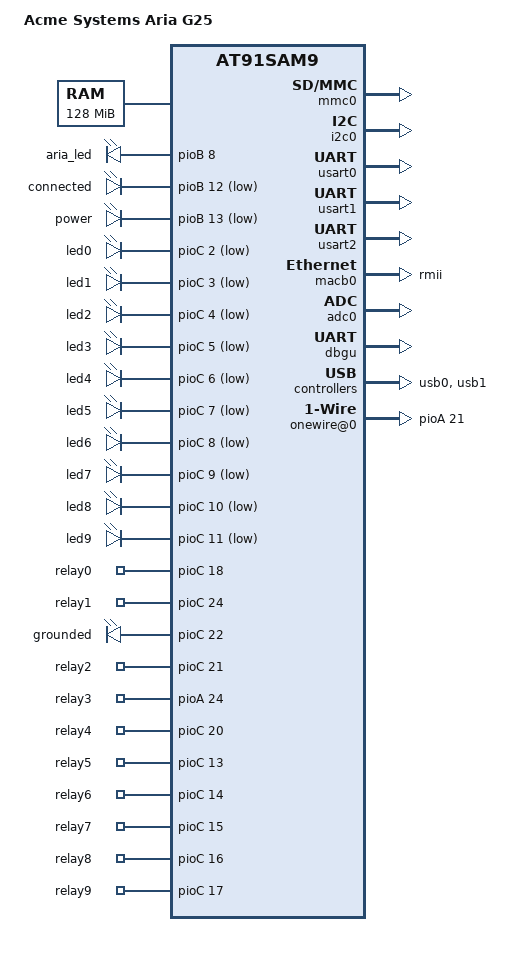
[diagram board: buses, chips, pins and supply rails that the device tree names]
/*
 * at91-ariag25.dts - Device Tree file for Acme Systems Aria G25 (AT91SAM9G25 based)
 *
 * Copyright (C) 2013 Douglas Gilbert <dgilbert@interlog.com>,
 *                    Robert Nelson <robertcnelson@gmail.com>
 *
 * Changed by Sergio Tanzilli <sergio@tanzilli.com> to meet the default 
 * pin assignments
 *
 * Licensed under GPLv2 or later.
 */
/dts-v1/;
#include "at91sam9g25.dtsi"

/ {
	model = "Acme Systems Aria G25";
	compatible = "acme,ariag25", "atmel,at91sam9x5ek",
		     "atmel,at91sam9x5", "atmel,at91sam9";

	aliases {
		serial0 = &dbgu;
		serial1 = &usart0;
		serial2 = &usart1;
		serial3 = &usart2;
		serial4 = &usart3;
		serial5 = &uart0;
		serial6 = &uart1;
	};

	chosen {
		bootargs = "console=ttyS0,115200 root=/dev/mmcblk0p2 rw rootwait";
	};

	memory {
		/* 128 MB, change this for 256 MB revision */
		reg = <0x20000000 0x8000000>;
	};

	clocks {
		#address-cells = <1>;
		#size-cells = <1>;
		ranges;

		main_clock: clock@0 {
			compatible = "atmel,osc", "fixed-clock";
			clock-frequency = <12000000>;
		};
	};

	ahb {
		apb {
			mmc0: mmc@f0008000 {
				/* N.B. Aria has no SD card detect (CD), assumed present */

				pinctrl-0 = <
					&pinctrl_mmc0_slot0_clk_cmd_dat0
					&pinctrl_mmc0_slot0_dat1_3>;
				status = "okay";
				slot@0 {
					reg = <0>;
					bus-width = <4>;
				};
			};

			i2c0: i2c@f8010000 {
				status = "okay";
			};

			/*
			 * I2C-1 pins are marked as GPIO on
			 * Aria documentation.
			 * Change to "okay" if you need an additional I2C bus
			 */

			i2c1: i2c@f8014000 {
				status = "disabled";
			};

			/* TWD2+TCLK2 hidden behind ethernet, so no i2c2 */

			usart0: serial@f801c000 {
				pinctrl-0 = <&pinctrl_usart0
					     &pinctrl_usart0_rts
					     &pinctrl_usart0_cts>;
					     linux,rs485-enabled-at-boot-time;
						 rs485-rts-delay = <0 200>;
				status = "okay";
			};

			usart1: serial@f8020000 {
				pinctrl-0 = <&pinctrl_usart1
					     /* &pinctrl_usart1_rts */
					     /* &pinctrl_usart1_cts */
					    >;
				status = "okay";
			};

			usart2: serial@f8024000 {
				/* cannot activate RTS2+CTS2, clash with
				 * ethernet on PB0 and PB1 */
				pinctrl-0 = <&pinctrl_usart2>;
				status = "okay";
			};

			usart3: serial@f8028000 {
				compatible = "atmel,at91sam9260-usart";
				reg = <0xf8028000 0x200>;
				interrupts = <8 4 5>;
				pinctrl-names = "default";
				pinctrl-0 = <&pinctrl_usart3
					     /* &pinctrl_usart3_rts */
					     /* &pinctrl_usart3_cts */
					    >;
				status = "disabled";
			};

			macb0: ethernet@f802c000 {
				phy-mode = "rmii";
				/*
				 * following can be overwritten by bootloader:
				 * for example u-boot 'ftd set' command
				 */
				local-mac-address = [00 00 00 00 00 00];
				status = "okay";
			};

			/*
			 * UART0/1 pins are marked as GPIO on
			 * Aria documentation.
			 * Change to "okay" if you need additional serial ports
			 */
			uart0: serial@f8040000 {
				status = "disabled";
			};

			uart1: serial@f8044000 {
				status = "disabled";
			};

			adc0: adc@f804c000 {
				status = "okay";
				atmel,adc-channels-used = <0xf>;
				atmel,adc-num-channels = <4>;
			};

			dbgu: serial@fffff200 {
				status = "okay";
			};

			pinctrl@fffff400 {
				w1_0 {
					pinctrl_w1_0: w1_0-0 {
						atmel,pins = <0 21 0x0 0x1>; /* PA21 PIO, pull-up */
					};
					pinctrl_w2_0: w2_0-0 {
						atmel,pins = <2 23 0x0 0x1>; /* PC23 PIO, pull-up */
					};
				};
			};

			rtc@fffffeb0 {
				status = "okay";
			};
		};

		usb0: ohci@00600000 {
			status = "okay";
			num-ports = <3>;
			atmel,vbus-gpio = <0 /* &pioD 18 1 *//* Activate to have access to port A */
						&pioD 19 1
						&pioD 20 1
			>;
		};

		usb1: ehci@00700000 {
			status = "okay";
		};
	};

	leds {
		compatible = "gpio-leds";

		/* little green LED in middle of Aria G25 module */
		aria_led {
			label = "aria_led";
			gpios = <&pioB 8 GPIO_ACTIVE_HIGH>; /* PB8 */
			linux,default-trigger = "heartbeat";
		};

        connected {
          label = "connected";
          gpios = <&pioB 12 GPIO_ACTIVE_LOW>;
          linux,default-trigger = "none";
          default-state = "off";
        };
        power {
          label = "power";
          gpios = <&pioB 13 GPIO_ACTIVE_LOW>;
          linux,default-trigger = "heartbeat";
        };

        led0 {
          label = "led0";
          gpios = <&pioC 2 GPIO_ACTIVE_LOW>;
          linux,default-trigger = "none";
          default-state = "off";
        };
        led1 {
          label = "led1";
          gpios = <&pioC 3 GPIO_ACTIVE_LOW>;
          linux,default-trigger = "none";
          default-state = "off";
        };
        led2 {
          label = "led2";
          gpios = <&pioC 4 GPIO_ACTIVE_LOW>;
          linux,default-trigger = "none";
          default-state = "off";
        };
        led3 {
          label = "led3";
          gpios = <&pioC 5 GPIO_ACTIVE_LOW>;
          linux,default-trigger = "none";
          default-state = "off";
        };
        led4 {
          label = "led4";
          gpios = <&pioC 6 GPIO_ACTIVE_LOW>;
          linux,default-trigger = "none";
          default-state = "off";
        };
        led5 {
          label = "led5";
          gpios = <&pioC 7 GPIO_ACTIVE_LOW>;
          linux,default-trigger = "none";
          default-state = "off";
        };
        led6 {
          label = "led6";
          gpios = <&pioC 8 GPIO_ACTIVE_LOW>;
          linux,default-trigger = "none";
          default-state = "off";
        };
        led7 {
          label = "led7";
          gpios = <&pioC 9 GPIO_ACTIVE_LOW>;
          linux,default-trigger = "none";
          default-state = "off";
        };
        led8 {
          label = "led8";
          gpios = <&pioC 10 GPIO_ACTIVE_LOW>;
          linux,default-trigger = "none";
          default-state = "off";
        };
        led9 {
          label = "led9";
          gpios = <&pioC 11 GPIO_ACTIVE_LOW>;
          linux,default-trigger = "none";
          default-state = "off";
        };

        relay0 {
          label = "relay0";
          gpios = <&pioC 18 GPIO_ACTIVE_HIGH>;
          linux,default-trigger = "none";
          default-state = "off";
        };
        relay1 {
          label = "relay1";
          gpios = <&pioC 24 GPIO_ACTIVE_HIGH>;
          linux,default-trigger = "none";
          default-state = "off";
        };
        grounded {
          label = "grounded";
          gpios = <&pioC 22 GPIO_ACTIVE_HIGH>;
          linux,default-trigger = "none";
          default-state = "off";
        };
        relay2 {
          label = "relay2";
          gpios = <&pioC 21 GPIO_ACTIVE_HIGH>;
          linux,default-trigger = "none";
          default-state = "off";
        };
        relay3 {
          label = "relay3";
          gpios = <&pioA 24 GPIO_ACTIVE_HIGH>;
          linux,default-trigger = "none";
          default-state = "off";
        };
        relay4 {
          label = "relay4";
          gpios = <&pioC 20 GPIO_ACTIVE_HIGH>;
          linux,default-trigger = "none";
          default-state = "off";
        };
        relay5 {
          label = "relay5";
          gpios = <&pioC 13 GPIO_ACTIVE_HIGH>;
          linux,default-trigger = "none";
          default-state = "off";
        };
        relay6 {
          label = "relay6";
          gpios = <&pioC 14 GPIO_ACTIVE_HIGH>;
          linux,default-trigger = "none";
          default-state = "off";
        };
        relay7 {
          label = "relay7";
          gpios = <&pioC 15 GPIO_ACTIVE_HIGH>;
          linux,default-trigger = "none";
          default-state = "off";
        };
        relay8 {
          label = "relay8";
          gpios = <&pioC 16 GPIO_ACTIVE_HIGH>;
          linux,default-trigger = "none";
          default-state = "off";
        };
        relay9 {
          label = "relay9";
          gpios = <&pioC 17 GPIO_ACTIVE_HIGH>;
          linux,default-trigger = "none";
          default-state = "off";
        };
	};

	onewire@0 {
		compatible = "w1-gpio";
		gpios = <&pioA 21 GPIO_ACTIVE_LOW>;
		pinctrl-names = "default";
		pinctrl-0 = <&pinctrl_w1_0>;
	};
};
